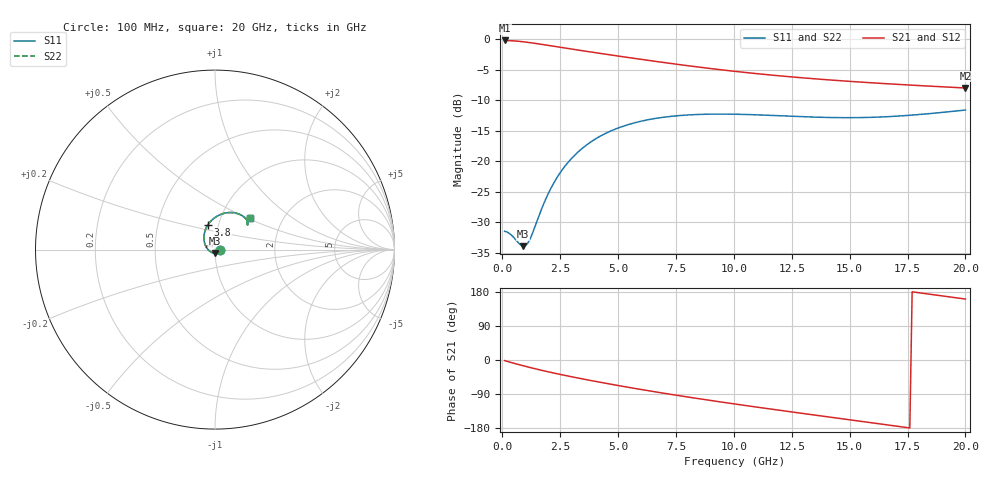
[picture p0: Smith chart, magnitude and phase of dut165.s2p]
! Created with skrf 1.9.0 (http://scikit-rf.org).
# GHz S RI R 50.0
!freq ReS11 ImS11 ReS21 ImS21 ReS12 ImS12 ReS22 ImS22
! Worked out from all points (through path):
!   200 points, 100 MHz to 20 GHz, reference 50 ohm
!   highest |S21| = -0.24 dB at 100 MHz (marker M1); lowest = -8.0 dB at 20 GHz (marker M2)
!   group delay of S21, straight-line fit = 26.2 ps
!   lowest |S11| = -33.9 dB at 900 MHz (marker M3), VSWR 1.04, Z = 49.9 - j2.02 ohm
!   |S11| at or under -10 dB: start of sweep to end of sweep
!   |S22| runs from -33.9 to -11.6 dB; largest |S21 - S12| = 2e-15
!   S11 on the Smith chart (normalised r, x): 100 MHz: 1.05, -0.01; 3.8 GHz: 0.89, +0.25; 20 GHz: 1.37, +0.52
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0.1  0.0264 -0.00418  0.9724 -0.0287  0.9724 -0.0287  0.0264 -0.00418
0.3  0.0236 -0.0105  0.9661 -0.0873  0.9661 -0.0873  0.0236 -0.0105
0.8  0.00487 -0.0201  0.9273 -0.2233  0.9273 -0.2233  0.00487 -0.0201
0.9  -0.000169 -0.0202  0.9162 -0.2481  0.9162 -0.2481  -0.000169 -0.0202
1  -0.00542 -0.0197  0.9042 -0.2721  0.9042 -0.2721  -0.00542 -0.0197
1.2  -0.0162 -0.0166  0.8781 -0.3172  0.8781 -0.3172  -0.0162 -0.0166
1.8  -0.0448 0.00747  0.7881 -0.4308  0.7881 -0.4308  -0.0448 0.00747
2.3  -0.0587 0.0388  0.7068 -0.5032  0.7068 -0.5032  -0.0587 0.0388
2.9  -0.0609 0.0806  0.608 -0.5688  0.608 -0.5688  -0.0609 0.0806
3.5  -0.0494 0.12  0.5102 -0.6157  0.5102 -0.6157  -0.0494 0.12
3.8  -0.0398 0.1374  0.4622 -0.6332  0.4622 -0.6332  -0.0398 0.1374
4.4  -0.0155 0.1662  0.3688 -0.6576  0.3688 -0.6576  -0.0155 0.1662
5.1  0.0174 0.1893  0.2652 -0.6704  0.2652 -0.6704  0.0174 0.1893
6.8  0.0948 0.2062  0.0452 -0.6473  0.0452 -0.6473  0.0948 0.2062
8.4  0.1462 0.192  -0.1161 -0.5803  -0.1161 -0.5803  0.1462 0.192
10.1  0.175 0.1679  -0.2428 -0.485  -0.2428 -0.485  0.175 0.1679
11.7  0.1841 0.1492  -0.3271 -0.3851  -0.3271 -0.3851  0.1841 0.1492
13.4  0.1832 0.1391  -0.3863 -0.2747  -0.3863 -0.2747  0.1832 0.1391
15  0.1794 0.1396  -0.4171 -0.17  -0.4171 -0.17  0.1794 0.1396
16.7  0.178 0.1487  -0.4254 -0.0608  -0.4254 -0.0608  0.178 0.1487
18.3  0.1825 0.1618  -0.4115 0.0366  -0.4115 0.0366  0.1825 0.1618
20  0.1948 0.1761  -0.3755 0.1304  -0.3755 0.1304  0.1948 0.1761
